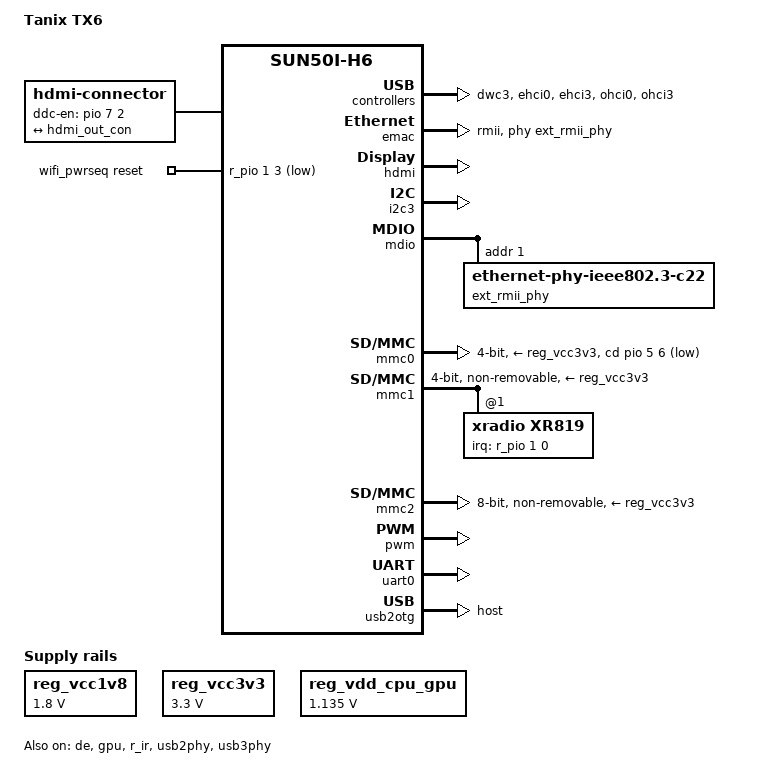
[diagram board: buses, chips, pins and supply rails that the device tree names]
// SPDX-License-Identifier: (GPL-2.0+ OR MIT)
// Copyright (c) 2019 Jernej Skrabec <jernej.skrabec@siol.net>

/dts-v1/;

#include "sun50i-h6.dtsi"
#include "sun50i-h6-cpu-opp.dtsi"

#include <dt-bindings/gpio/gpio.h>

/ {
	model = "Tanix TX6";
	compatible = "oranth,tanix-tx6", "allwinner,sun50i-h6";

	aliases {
		ethernet0 = &emac;
		serial0 = &uart0;
		ethernet1 = &xr819;
	};

	chosen {
		stdout-path = "serial0:115200n8";
	};

	connector {
		compatible = "hdmi-connector";
		ddc-en-gpios = <&pio 7 2 GPIO_ACTIVE_HIGH>; /* PH2 */
		type = "a";

		port {
			hdmi_con_in: endpoint {
				remote-endpoint = <&hdmi_out_con>;
			};
		};
	};

	reg_vcc1v8: vcc1v8 {
		compatible = "regulator-fixed";
		regulator-name = "vcc1v8";
		regulator-min-microvolt = <1800000>;
		regulator-max-microvolt = <1800000>;
	};

	reg_vcc3v3: vcc3v3 {
		compatible = "regulator-fixed";
		regulator-name = "vcc3v3";
		regulator-min-microvolt = <3300000>;
		regulator-max-microvolt = <3300000>;
	};

	reg_vdd_cpu_gpu: vdd-cpu-gpu {
		compatible = "regulator-fixed";
		regulator-name = "vdd-cpu-gpu";
		regulator-min-microvolt = <1135000>;
		regulator-max-microvolt = <1135000>;
	};

	wifi_pwrseq: wifi_pwrseq {
		compatible = "mmc-pwrseq-simple";
		clocks = <&rtc 1>;
		clock-names = "ext_clock";
		reset-gpios = <&r_pio 1 3 GPIO_ACTIVE_LOW>; /* PM3 */
		post-power-on-delay-ms = <200>;
	};

};

&cpu0 {
	cpu-supply = <&reg_vdd_cpu_gpu>;
};

&ac200_pwm_clk {
	status = "okay";
};

&de {
	status = "okay";
};

&dwc3 {
	status = "okay";
};

&emac {
	pinctrl-names = "default";
	pinctrl-0 = <&ext_rmii_pins>;
	phy-mode = "rmii";
	phy-handle = <&ext_rmii_phy>;
	status = "okay";
};

&ehci0 {
	status = "okay";
};

&ehci3 {
	status = "okay";
};

&gpu {
	mali-supply = <&reg_vdd_cpu_gpu>;
	status = "okay";
};

&hdmi {
	status = "okay";
};

&hdmi_out {
	hdmi_out_con: endpoint {
		remote-endpoint = <&hdmi_con_in>;
	};
};

&i2c3 {
	status = "okay";
};

&mdio {
	ext_rmii_phy: ethernet-phy@1 {
		compatible = "ethernet-phy-ieee802.3-c22";
		reg = <1>;
	};
};

&mmc0 {
	pinctrl-names = "default";
	pinctrl-0 = <&mmc0_pins>;
	vmmc-supply = <&reg_vcc3v3>;
	cd-gpios = <&pio 5 6 GPIO_ACTIVE_LOW>;
	bus-width = <4>;
	status = "okay";
};

&mmc1 {
	pinctrl-names = "default";
	pinctrl-0 = <&mmc1_pins>;
	vmmc-supply = <&reg_vcc3v3>;
	vqmmc-supply = <&reg_vcc1v8>;
	mmc-pwrseq = <&wifi_pwrseq>;
	bus-width = <4>;
	non-removable;
	status = "okay";

       /*
         * Explicitly define the sdio device, so that we can add an ethernet
         * alias for it (which e.g. makes u-boot set a mac-address).
         */
        xr819: sdio_wifi@1 {
                reg = <1>;
		compatible = "xradio,xr819";
		interrupt-parent = <&r_pio>;
                local-mac-address = [dc 44 6d c0 ff ee];
		interrupts = <1 0 IRQ_TYPE_EDGE_RISING>;	/* PM0 */
		interrupt-names = "host-wake";
        };
};

&mmc2 {
	vmmc-supply = <&reg_vcc3v3>;
	vqmmc-supply = <&reg_vcc1v8>;
	non-removable;
	cap-mmc-hw-reset;
	bus-width = <8>;
	status = "okay";
};

&ohci0 {
	status = "okay";
};

&ohci3 {
	status = "okay";
};

&pio {
	vcc-pc-supply = <&reg_vcc1v8>;
};

&pwm {
	status = "okay";
};

&r_ir {
	linux,rc-map-name = "rc-tanix-tx5max";
	status = "okay";
};

&uart0 {
	pinctrl-names = "default";
	pinctrl-0 = <&uart0_ph_pins>;
	status = "okay";
};

&usb2otg {
	dr_mode = "host";
	status = "okay";
};

&usb2phy {
	status = "okay";
};

&usb3phy {
	status = "okay";
};
